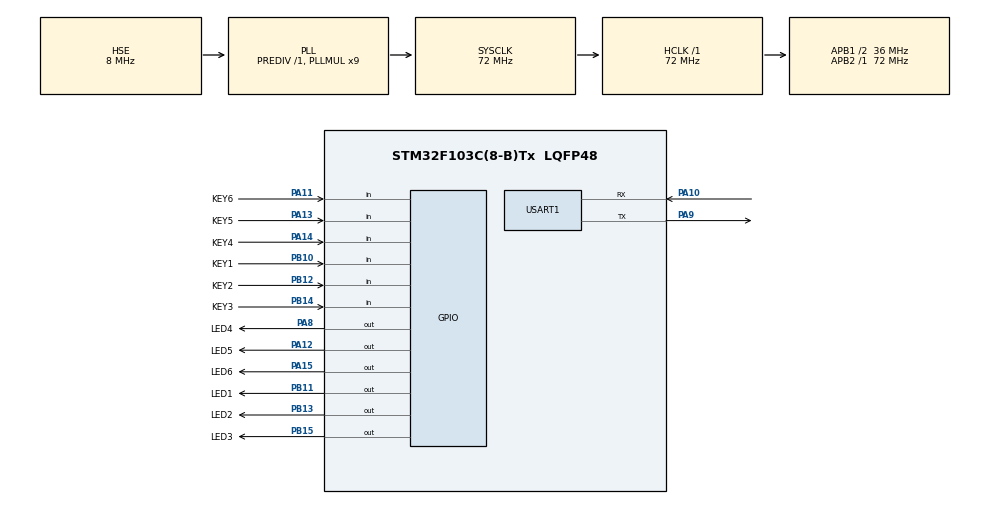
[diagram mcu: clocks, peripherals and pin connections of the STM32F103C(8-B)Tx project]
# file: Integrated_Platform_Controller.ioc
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Mcu.Family=STM32F1
Mcu.Name=STM32F103C(8-B)Tx
Mcu.Package=LQFP48
NVIC.PriorityGroup=NVIC_PRIORITYGROUP_4
NVIC.USART1_IRQn=true\:0\:0\:false\:false\:true\:true\:true
PA10.Mode=Asynchronous
PA10.Signal=USART1_RX
PA11.GPIO_Label=KEY6
PA11.Signal=GPIO_Input
PA12.GPIO_Label=LED5
PA12.Signal=GPIO_Output
PA13.GPIO_Label=KEY5
PA13.Signal=GPIO_Input
PA14.GPIO_Label=KEY4
PA14.Signal=GPIO_Input
PA15.GPIO_Label=LED6
PA15.Signal=GPIO_Output
PA8.GPIO_Label=LED4
PA8.Signal=GPIO_Output
PA9.Mode=Asynchronous
PA9.Signal=USART1_TX
PB10.GPIO_Label=KEY1
PB10.Signal=GPIO_Input
PB11.GPIO_Label=LED1
PB11.Signal=GPIO_Output
PB12.GPIO_Label=KEY2
PB12.Signal=GPIO_Input
PB13.GPIO_Label=LED2
PB13.Signal=GPIO_Output
PB14.GPIO_Label=KEY3
PB14.Signal=GPIO_Input
PB15.GPIO_Label=LED3
PB15.Signal=GPIO_Output
PD0-OSC_IN.Mode=HSE-External-Oscillator
PD0-OSC_IN.Signal=RCC_OSC_IN
PD1-OSC_OUT.Mode=HSE-External-Oscillator
PD1-OSC_OUT.Signal=RCC_OSC_OUT
ProjectManager.HeapSize=0x200
ProjectManager.StackSize=0x400
ProjectManager.TargetToolchain=MDK-ARM V5
RCC.AHBFreq_Value=72000000
RCC.APB1CLKDivider=RCC_HCLK_DIV2
RCC.APB1Freq_Value=36000000
RCC.APB1TimFreq_Value=72000000
RCC.APB2Freq_Value=72000000
RCC.APB2TimFreq_Value=72000000
RCC.HCLKFreq_Value=72000000
RCC.PLLMUL=RCC_PLL_MUL9
RCC.PLLSourceVirtual=RCC_PLLSOURCE_HSE
RCC.SYSCLKFreq_VALUE=72000000
RCC.SYSCLKSource=RCC_SYSCLKSOURCE_PLLCLK
RCC.USBFreq_Value=72000000
USART1.VirtualMode=VM_ASYNC
VP_SYS_VS_ND.Mode=No_Debug
board=custom

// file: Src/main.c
/* USER CODE BEGIN Header */
/**
  ******************************************************************************
  * @file           : main.c
  * @brief          : Main program body
  ******************************************************************************
  * @attention
  *
  * <h2><center>&copy; Copyright (c) 2020 STMicroelectronics.
  * All rights reserved.</center></h2>
  *
  * This software component is licensed by ST under BSD 3-Clause license,
  * the "License"; You may not use this file except in compliance with the
  * License. You may obtain a copy of the License at:
  *                        opensource.org/licenses/BSD-3-Clause
  *
  ******************************************************************************
  */
/* USER CODE END Header */

#include "main.h"
#include "usart.h"
#include "gpio.h"

/* USER CODE BEGIN PD */
	uint8_t	key1;
	uint8_t	key2;
	uint8_t	key3;
	uint8_t	key4;
	uint8_t	key5;
	uint8_t	key6;

	int			rem_joggle_time = 800;
	double		off_time		= 9000000;
	int			off_flag		= 0;

	uint8_t UART_TX_BUF[1] = "G";
	uint8_t UART_RX_BUF[1];
/* USER CODE END PD */

void SystemClock_Config(void);

int main(void)
{

  /* MCU Configuration--------------------------------------------------------*/

  /* Reset of all peripherals, Initializes the Flash interface and the Systick. */
  HAL_Init();

  /* Configure the system clock */
  SystemClock_Config();

  /* Initialize all configured peripherals */
  MX_GPIO_Init();
  MX_USART1_UART_Init();
  /* USER CODE BEGIN 2 */
	HAL_UART_Transmit(&huart1,UART_TX_BUF,1,0xffff);
	HAL_UART_Receive_IT(&huart1,(uint8_t*)UART_RX_BUF,1);
  /* USER CODE END 2 */

  /* Infinite loop */
  while (1)
  {

    /* USER CODE BEGIN 3 */

		/*
		HAL_Delay(1000);
		HAL_GPIO_WritePin(GPIOB, LED1_Pin|LED2_Pin|LED3_Pin, GPIO_PIN_SET);
		HAL_GPIO_WritePin(GPIOA, LED4_Pin|LED5_Pin|LED6_Pin, GPIO_PIN_RESET);
		HAL_Delay(1000);
		HAL_GPIO_WritePin(GPIOB, LED1_Pin|LED2_Pin|LED3_Pin, GPIO_PIN_RESET);
		HAL_GPIO_WritePin(GPIOA, LED4_Pin|LED5_Pin|LED6_Pin, GPIO_PIN_SET);
		*/

		if(off_flag){
			if(off_time==0){
				off_flag = 0;
				HAL_GPIO_WritePin(GPIOB, LED1_Pin, GPIO_PIN_RESET);
				HAL_GPIO_WritePin(GPIOB, LED2_Pin, GPIO_PIN_RESET);
				HAL_GPIO_WritePin(GPIOB, LED3_Pin, GPIO_PIN_RESET);
				HAL_GPIO_WritePin(GPIOA, LED6_Pin, GPIO_PIN_RESET);
				HAL_GPIO_WritePin(GPIOA, LED5_Pin, GPIO_PIN_RESET);
				HAL_GPIO_WritePin(GPIOA, LED4_Pin, GPIO_PIN_RESET);
			}
			else
				off_time--;
			};

		key1=HAL_GPIO_ReadPin(GPIOB,KEY1_Pin);
		key2=HAL_GPIO_ReadPin(GPIOB,KEY2_Pin);
		key3=HAL_GPIO_ReadPin(GPIOB,KEY3_Pin);
		key4=HAL_GPIO_ReadPin(GPIOA,KEY4_Pin);
		key5=HAL_GPIO_ReadPin(GPIOA,KEY5_Pin);
		key6=HAL_GPIO_ReadPin(GPIOA,KEY6_Pin);

		if(key1){
			UART_TX_BUF[0] = 'A';
			HAL_UART_Transmit(&huart1,UART_TX_BUF,1,0xffff);
			HAL_Delay(rem_joggle_time);
			off_flag = 1;
			off_time = 9000000;
		}
		if(key2){
			UART_TX_BUF[0] = 'B';
			HAL_UART_Transmit(&huart1,UART_TX_BUF,1,0xffff);
			HAL_Delay(rem_joggle_time);
			off_flag = 0;
			off_time = 9000000;
		}
		if(key3){
			UART_TX_BUF[0] = 'C';
			HAL_UART_Transmit(&huart1,UART_TX_BUF,1,0xffff);
			HAL_Delay(rem_joggle_time);
			off_flag = 1;
			off_time = 9000000;
		}
		if(key4){
			UART_TX_BUF[0] = 'D';
			HAL_UART_Transmit(&huart1,UART_TX_BUF,1,0xffff);
			HAL_Delay(rem_joggle_time);
			off_flag = 1;
			off_time = 9000000;
		}
		if(key5){
			UART_TX_BUF[0] = 'E';
			HAL_UART_Transmit(&huart1,UART_TX_BUF,1,0xffff);
			HAL_Delay(rem_joggle_time);
			off_flag = 0;
			off_time = 9000000;
		}
		if(key6){
			UART_TX_BUF[0] = 'F';
			HAL_UART_Transmit(&huart1,UART_TX_BUF,1,0xffff);
			HAL_Delay(rem_joggle_time);
			off_flag = 1;
			off_time = 9000000;
		}

	key1=key2=key3=key4=key5=key6=0;
  }
  /* USER CODE END 3 */
}

void SystemClock_Config(void)
{
  RCC_OscInitTypeDef RCC_OscInitStruct = {0};
  RCC_ClkInitTypeDef RCC_ClkInitStruct = {0};

  /** Initializes the CPU, AHB and APB busses clocks
  */
  RCC_OscInitStruct.OscillatorType = RCC_OSCILLATORTYPE_HSE;
  RCC_OscInitStruct.HSEState = RCC_HSE_ON;
  RCC_OscInitStruct.HSEPredivValue = RCC_HSE_PREDIV_DIV1;
  RCC_OscInitStruct.HSIState = RCC_HSI_ON;
  RCC_OscInitStruct.PLL.PLLState = RCC_PLL_ON;
  RCC_OscInitStruct.PLL.PLLSource = RCC_PLLSOURCE_HSE;
  RCC_OscInitStruct.PLL.PLLMUL = RCC_PLL_MUL9;
  if (HAL_RCC_OscConfig(&RCC_OscInitStruct) != HAL_OK)
  {
    Error_Handler();
  }
  /** Initializes the CPU, AHB and APB busses clocks
  */
  RCC_ClkInitStruct.ClockType = RCC_CLOCKTYPE_HCLK|RCC_CLOCKTYPE_SYSCLK
                              |RCC_CLOCKTYPE_PCLK1|RCC_CLOCKTYPE_PCLK2;
  RCC_ClkInitStruct.SYSCLKSource = RCC_SYSCLKSOURCE_PLLCLK;
  RCC_ClkInitStruct.AHBCLKDivider = RCC_SYSCLK_DIV1;
  RCC_ClkInitStruct.APB1CLKDivider = RCC_HCLK_DIV2;
  RCC_ClkInitStruct.APB2CLKDivider = RCC_HCLK_DIV1;

  if (HAL_RCC_ClockConfig(&RCC_ClkInitStruct, FLASH_LATENCY_2) != HAL_OK)
  {
    Error_Handler();
  }
}

/* USER CODE BEGIN 4 */

void HAL_UART_RxCpltCallback(UART_HandleTypeDef *huart)
{
		//UNUSED(huart);
		if(UART_RX_BUF[0] == 'O'){
			HAL_GPIO_WritePin(GPIOB, LED1_Pin, GPIO_PIN_SET);
			HAL_GPIO_WritePin(GPIOB, LED2_Pin, GPIO_PIN_RESET);
			HAL_GPIO_WritePin(GPIOB, LED3_Pin, GPIO_PIN_RESET);
			HAL_GPIO_WritePin(GPIOA, LED6_Pin, GPIO_PIN_RESET);
			HAL_GPIO_WritePin(GPIOA, LED5_Pin, GPIO_PIN_RESET);
			HAL_GPIO_WritePin(GPIOA, LED4_Pin, GPIO_PIN_RESET);
		}
		else if(UART_RX_BUF[0] == 'P'){
			HAL_GPIO_WritePin(GPIOB, LED2_Pin, GPIO_PIN_SET);
			HAL_GPIO_WritePin(GPIOB, LED3_Pin, GPIO_PIN_RESET);
		}
		else if(UART_RX_BUF[0] == 'Q'){
			HAL_GPIO_WritePin(GPIOB, LED2_Pin, GPIO_PIN_RESET);
			HAL_GPIO_WritePin(GPIOB, LED3_Pin, GPIO_PIN_SET);
		}
		else if(UART_RX_BUF[0] == 'R'){
			HAL_GPIO_WritePin(GPIOA, LED6_Pin, GPIO_PIN_SET);
			HAL_GPIO_WritePin(GPIOA, LED5_Pin, GPIO_PIN_RESET);
			HAL_GPIO_WritePin(GPIOA, LED4_Pin, GPIO_PIN_RESET);
			HAL_GPIO_WritePin(GPIOB, LED1_Pin, GPIO_PIN_RESET);
			HAL_GPIO_WritePin(GPIOB, LED2_Pin, GPIO_PIN_RESET);
			HAL_GPIO_WritePin(GPIOB, LED3_Pin, GPIO_PIN_RESET);
		}
		else if(UART_RX_BUF[0] == 'U'){
			HAL_GPIO_WritePin(GPIOA, LED5_Pin, GPIO_PIN_SET);
			HAL_GPIO_WritePin(GPIOA, LED4_Pin, GPIO_PIN_RESET);
		}
		else if(UART_RX_BUF[0] == 'V'){
			HAL_GPIO_WritePin(GPIOA, LED5_Pin, GPIO_PIN_RESET);
			HAL_GPIO_WritePin(GPIOA, LED4_Pin, GPIO_PIN_SET);
		}
		else{
			UART_RX_BUF[0] = 'X';
		}

		HAL_UART_Receive_IT(&huart1,UART_RX_BUF,1);
}
/* USER CODE END 4 */

void Error_Handler(void)
{
}

/************************ (C) COPYRIGHT STMicroelectronics *****END OF FILE****/
